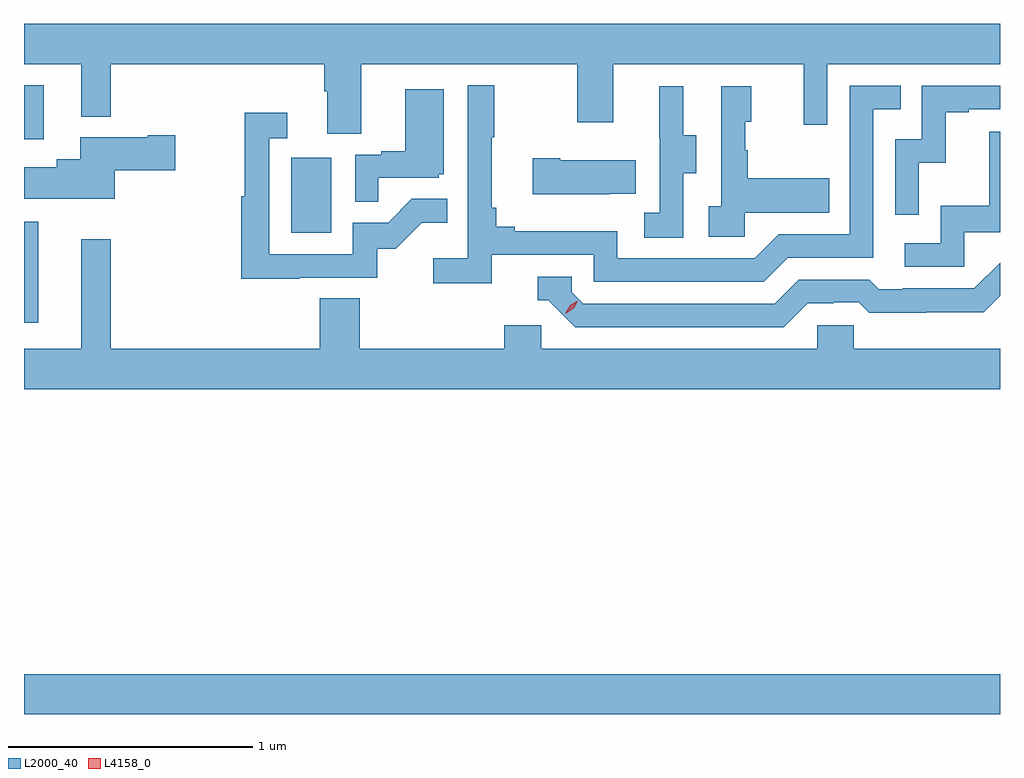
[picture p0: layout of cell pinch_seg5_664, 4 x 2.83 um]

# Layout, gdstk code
import gdstk
lib = gdstk.Library(unit=1e-6, precision=1e-09)
def R(c, l, rs):  # rectangles x0, y0, x1, y1
    for r in rs: c.add(gdstk.rectangle(r[:2], r[2:], *l))
def P(c, l, *ps):  # polygons
    for p in ps: c.add(gdstk.Polygon(p, *l))
L2000_40 = (2000, 40)
L4158_0 = (4158, 0)

pinch_seg5_664 = lib.new_cell('pinch_seg5_664')
R(pinch_seg5_664, L2000_40, [(1054.223,848.768,1058.223,848.932), (1054.223,850.371,1054.282,850.786), (1055.318,850.74,1055.482,851.047), (1054.223,851.123,1054.303,851.344)])
P(pinch_seg5_664, L2000_40, [(1055.605,851.432),(1056.49,851.432),(1056.49,851.193),(1056.637,851.193),(1056.637,851.432),(1057.418,851.432),(1057.418,851.184),(1057.515,851.184),(1057.515,851.432),(1058.223,851.432),(1058.223,851.596),(1054.223,851.596),(1054.223,851.432),(1054.457,851.432),(1054.457,851.216),(1054.579,851.216),(1054.579,851.432),(1055.453,851.432),(1055.453,851.32),(1055.465,851.32),(1055.465,851.146),(1055.605,851.146)],
  [(1056.14,850.65),(1056.558,850.65),(1056.558,850.539),(1057.255,850.539),(1057.354,850.638),(1057.704,850.638),(1057.704,851.247),(1057.817,851.247),(1057.817,851.343),(1057.608,851.343),(1057.608,850.734),(1057.317,850.734),(1057.218,850.635),(1056.654,850.635),(1056.654,850.747),(1056.235,850.747),(1056.235,850.766),(1056.158,850.766),(1056.158,850.843),(1056.139,850.843),(1056.139,851.131),(1056.151,851.131),(1056.151,851.344),(1056.042,851.344),(1056.042,850.636),(1055.901,850.636),(1055.901,850.534),(1056.14,850.534)],
  [(1057.89,851.027),(1058,851.027),(1058,851.235),(1058.095,851.235),(1058.095,851.247),(1058.223,851.247),(1058.223,851.343),(1057.902,851.343),(1057.902,851.124),(1057.794,851.124),(1057.794,850.815),(1057.89,850.815)],
  [(1057.176,850.823),(1057.523,850.823),(1057.523,850.963),(1057.189,850.963),(1057.189,851.078),(1057.179,851.078),(1057.179,851.196),(1057.204,851.196),(1057.204,851.341),(1057.08,851.341),(1057.08,850.85),(1057.029,850.85),(1057.029,850.725),(1057.176,850.725)],
  [(1056.924,850.984),(1056.979,850.984),(1056.979,851.139),(1056.925,851.139),(1056.925,851.341),(1056.827,851.341),(1056.827,851.127),(1056.828,851.127),(1056.828,850.823),(1056.765,850.823),(1056.765,850.72),(1056.924,850.72)],
  [(1055.675,850.965),(1055.922,850.965),(1055.922,850.98),(1055.944,850.98),(1055.944,851.329),(1055.786,851.329),(1055.786,851.074),(1055.687,851.074),(1055.687,851.061),(1055.58,851.061),(1055.58,850.867),(1055.675,850.867)],
  [(1055.351,850.557),(1055.67,850.557),(1055.67,850.674),(1055.746,850.674),(1055.853,850.781),(1055.957,850.781),(1055.957,850.88),(1055.813,850.88),(1055.715,850.782),(1055.571,850.782),(1055.571,850.653),(1055.229,850.653),(1055.229,851.127),(1055.302,851.127),(1055.302,851.233),(1055.128,851.233),(1055.128,850.89),(1055.113,850.89),(1055.113,850.552),(1055.351,850.552)],
  [(1058.076,850.743),(1058.223,850.743),(1058.223,851.155),(1058.179,851.155),(1058.179,850.852),(1057.98,850.852),(1057.98,850.698),(1057.833,850.698),(1057.833,850.602),(1058.076,850.602)],
  [(1054.594,850.997),(1054.843,850.997),(1054.843,851.139),(1054.73,851.139),(1054.73,851.131),(1054.454,851.131),(1054.454,851.041),(1054.358,851.041),(1054.358,851.009),(1054.223,851.009),(1054.223,850.88),(1054.594,850.88)],
  [(1056.623,850.901),(1056.731,850.901),(1056.731,851.038),(1056.421,851.038),(1056.421,851.046),(1056.309,851.046),(1056.309,850.898),(1056.623,850.898)],
  [(1058.223,850.264),(1057.623,850.264),(1057.623,850.362),(1057.473,850.362),(1057.473,850.264),(1056.342,850.264),(1056.342,850.362),(1056.191,850.362),(1056.191,850.264),(1055.6,850.264),(1055.6,850.472),(1055.435,850.472),(1055.435,850.264),(1054.579,850.264),(1054.579,850.714),(1054.457,850.714),(1054.457,850.264),(1054.223,850.264),(1054.223,850.1),(1058.223,850.1)],
  [(1057.435,850.452),(1057.542,850.452),(1057.542,850.455),(1057.645,850.455),(1057.687,850.413),(1057.92,850.413),(1057.92,850.415),(1058.156,850.415),(1058.223,850.482),(1058.223,850.617),(1058.118,850.512),(1057.825,850.512),(1057.825,850.509),(1057.726,850.509),(1057.687,850.548),(1057.398,850.548),(1057.299,850.449),(1056.516,850.449),(1056.468,850.497),(1056.468,850.56),(1056.329,850.56),(1056.329,850.464),(1056.372,850.464),(1056.483,850.353),(1057.336,850.353)])
P(pinch_seg5_664, L4158_0, [(1056.444,850.411),(1056.444,850.412),(1056.462,850.444),(1056.493,850.462),(1056.493,850.462),(1056.493,850.462),(1056.476,850.43),(1056.445,850.411)])

lib.write_gds('pinch_seg5_664.gds')
